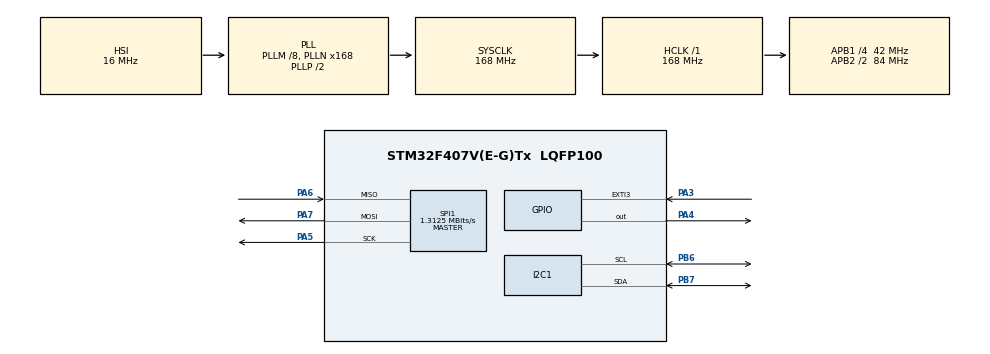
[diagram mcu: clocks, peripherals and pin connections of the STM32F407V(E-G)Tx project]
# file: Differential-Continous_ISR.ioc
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Dma.I2C1_RX.2.Direction=DMA_PERIPH_TO_MEMORY
Dma.I2C1_RX.2.FIFOMode=DMA_FIFOMODE_DISABLE
Dma.I2C1_RX.2.Instance=DMA1_Stream0
Dma.I2C1_RX.2.MemDataAlignment=DMA_MDATAALIGN_BYTE
Dma.I2C1_RX.2.MemInc=DMA_MINC_ENABLE
Dma.I2C1_RX.2.Mode=DMA_NORMAL
Dma.I2C1_RX.2.PeriphDataAlignment=DMA_PDATAALIGN_BYTE
Dma.I2C1_RX.2.PeriphInc=DMA_PINC_DISABLE
Dma.I2C1_RX.2.Priority=DMA_PRIORITY_LOW
Dma.I2C1_TX.3.Direction=DMA_MEMORY_TO_PERIPH
Dma.I2C1_TX.3.FIFOMode=DMA_FIFOMODE_DISABLE
Dma.I2C1_TX.3.Instance=DMA1_Stream6
Dma.I2C1_TX.3.MemDataAlignment=DMA_MDATAALIGN_BYTE
Dma.I2C1_TX.3.MemInc=DMA_MINC_ENABLE
Dma.I2C1_TX.3.Mode=DMA_NORMAL
Dma.I2C1_TX.3.PeriphDataAlignment=DMA_PDATAALIGN_BYTE
Dma.I2C1_TX.3.PeriphInc=DMA_PINC_DISABLE
Dma.I2C1_TX.3.Priority=DMA_PRIORITY_LOW
Dma.Request0=SPI1_TX
Dma.Request1=SPI1_RX
Dma.Request2=I2C1_RX
Dma.Request3=I2C1_TX
Dma.SPI1_RX.1.Direction=DMA_PERIPH_TO_MEMORY
Dma.SPI1_RX.1.FIFOMode=DMA_FIFOMODE_DISABLE
Dma.SPI1_RX.1.Instance=DMA2_Stream0
Dma.SPI1_RX.1.MemDataAlignment=DMA_MDATAALIGN_BYTE
Dma.SPI1_RX.1.MemInc=DMA_MINC_ENABLE
Dma.SPI1_RX.1.Mode=DMA_NORMAL
Dma.SPI1_RX.1.PeriphDataAlignment=DMA_PDATAALIGN_BYTE
Dma.SPI1_RX.1.PeriphInc=DMA_PINC_DISABLE
Dma.SPI1_RX.1.Priority=DMA_PRIORITY_LOW
Dma.SPI1_TX.0.Direction=DMA_MEMORY_TO_PERIPH
Dma.SPI1_TX.0.FIFOMode=DMA_FIFOMODE_DISABLE
Dma.SPI1_TX.0.Instance=DMA2_Stream3
Dma.SPI1_TX.0.MemDataAlignment=DMA_MDATAALIGN_BYTE
Dma.SPI1_TX.0.MemInc=DMA_MINC_ENABLE
Dma.SPI1_TX.0.Mode=DMA_NORMAL
Dma.SPI1_TX.0.PeriphDataAlignment=DMA_PDATAALIGN_BYTE
Dma.SPI1_TX.0.PeriphInc=DMA_PINC_DISABLE
Dma.SPI1_TX.0.Priority=DMA_PRIORITY_LOW
I2C1.GeneralCallMode=I2C_GENERALCALL_ENABLE
I2C1.NoStretchMode=I2C_NOSTRETCH_ENABLE
I2C1.OwnAddress=2
Mcu.Family=STM32F4
Mcu.Name=STM32F407V(E-G)Tx
Mcu.Package=LQFP100
NVIC.DMA1_Stream0_IRQn=true\:0\:0\:false\:false\:true\:false\:true
NVIC.DMA1_Stream6_IRQn=true\:0\:0\:false\:false\:true\:false\:true
NVIC.DMA2_Stream0_IRQn=true\:0\:0\:false\:false\:true\:false\:true
NVIC.DMA2_Stream3_IRQn=true\:0\:0\:false\:false\:true\:false\:true
NVIC.EXTI3_IRQn=true\:0\:0\:false\:false\:true\:true\:true
NVIC.I2C1_ER_IRQn=true\:0\:0\:false\:false\:true\:true\:true
NVIC.I2C1_EV_IRQn=true\:0\:0\:false\:false\:true\:true\:true
NVIC.PriorityGroup=NVIC_PRIORITYGROUP_4
PA3.GPIO_ModeDefaultEXTI=GPIO_MODE_IT_FALLING
PA3.Signal=GPXTI3
PA4.GPIO_PuPd=GPIO_PULLUP
PA4.GPIO_Speed=GPIO_SPEED_FREQ_VERY_HIGH
PA4.PinState=GPIO_PIN_RESET
PA4.Signal=GPIO_Output
PA5.Mode=Full_Duplex_Master
PA5.Signal=SPI1_SCK
PA6.Mode=Full_Duplex_Master
PA6.Signal=SPI1_MISO
PA7.Mode=Full_Duplex_Master
PA7.Signal=SPI1_MOSI
PB6.Mode=I2C
PB6.Signal=I2C1_SCL
PB7.Mode=I2C
PB7.Signal=I2C1_SDA
ProjectManager.HeapSize=0x200
ProjectManager.StackSize=0x400
ProjectManager.TargetToolchain=STM32CubeIDE
RCC.48MHZClocksFreq_Value=84000000
RCC.AHBFreq_Value=168000000
RCC.APB1CLKDivider=RCC_HCLK_DIV4
RCC.APB1Freq_Value=42000000
RCC.APB1TimFreq_Value=84000000
RCC.APB2CLKDivider=RCC_HCLK_DIV2
RCC.APB2Freq_Value=84000000
RCC.APB2TimFreq_Value=168000000
RCC.CortexFreq_Value=168000000
RCC.HCLKFreq_Value=168000000
RCC.HSE_VALUE=25000000
RCC.HSI_VALUE=16000000
RCC.LSE_VALUE=32768
RCC.PLLM=8
RCC.PLLN=168
RCC.SYSCLKFreq_VALUE=168000000
RCC.SYSCLKSource=RCC_SYSCLKSOURCE_PLLCLK
RCC.VCOOutputFreq_Value=336000000
SPI1.BaudRatePrescaler=SPI_BAUDRATEPRESCALER_64
SPI1.CLKPhase=SPI_PHASE_2EDGE
SPI1.CalculateBaudRate=1.3125 MBits/s
SPI1.Direction=SPI_DIRECTION_2LINES
SPI1.Mode=SPI_MODE_MASTER
SPI1.VirtualType=VM_MASTER
VP_TIM4_VS_ClockSourceINT.Mode=Internal
board=custom

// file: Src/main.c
/* USER CODE BEGIN Header */
/**
  ******************************************************************************
  * @file           : main.c
  * @brief          : Main program body
  ******************************************************************************
  * @attention
  *
  * <h2><center>&copy; Copyright (c) 2019 STMicroelectronics.
  * All rights reserved.</center></h2>
  *
  * This software component is licensed by ST under BSD 3-Clause license,
  * the "License"; You may not use this file except in compliance with the
  * License. You may obtain a copy of the License at:
  *                        opensource.org/licenses/BSD-3-Clause
  *
  ******************************************************************************
  */
/* USER CODE END Header */

#include "main.h"

/* USER CODE BEGIN Includes */
#include "Delay.h"
#include "arm_math.h"
/* USER CODE END Includes */

/* USER CODE BEGIN PD */
#define DRDY_IS_LOW() (HAL_GPIO_ReadPin(GPIOA, GPIO_PIN_3)==0)
#define CS_0()	HAL_GPIO_WritePin(GPIOA, GPIO_PIN_4, GPIO_PIN_RESET);
#define CS_1()	HAL_GPIO_WritePin(GPIOA, GPIO_PIN_4, GPIO_PIN_SET);
/* USER CODE END PD */

I2C_HandleTypeDef hi2c1;
DMA_HandleTypeDef hdma_i2c1_rx;
DMA_HandleTypeDef hdma_i2c1_tx;

SPI_HandleTypeDef hspi1;
DMA_HandleTypeDef hdma_spi1_tx;
DMA_HandleTypeDef hdma_spi1_rx;

TIM_HandleTypeDef htim4;

/* USER CODE BEGIN PV */
uint8_t abc = 0;
uint8_t id=0;
float data;
int32_t read = 0;
float max = 0;
uint32_t max_index = 0;
uint32_t mintestIndex = 0;

uint8_t RDATACsend_data[3] = {0xff,0xff,0xff};
uint8_t Databuffer[3] = {0x00,0x00,0x00};
uint8_t RDATACcmdbuffer[1] = {CMD_RDATAC};
uint8_t SDATACcmduffer[1] = {CMD_SDATAC};

struct ADC_Info{
	uint32_t data_index;
	uint32_t data_length;
	float data_buffer[4096];
	uint8_t data_startFlag;
} ADS1256;

struct Statistic_value
{
	float Statistic_max;
	float Statistic_min;
	float Statistic_var;
	float Statistic_rms;
	float Statistic_mean;
	float Statistic_std;

}statistic_value;

uint8_t buffer[2];
uint8_t pData[10] = {1,2,3,4,5,6,7,8,9,10};
/* USER CODE END PV */

void SystemClock_Config(void);
static void MX_GPIO_Init(void);
static void MX_DMA_Init(void);
static void MX_SPI1_Init(void);
static void MX_TIM4_Init(void);
static void MX_I2C1_Init(void);
/* USER CODE BEGIN PFP */
void waitDRDY(void);
void setBuffer(void);
uint8_t readByteFromReg(uint8_t registerID);
uint8_t receive8bit(void);
uint8_t readChipID(void);
void send8bit(uint8_t data);
void setPGA(uint8_t pga);
void writeByteToReg(uint8_t registerID, uint8_t value);
void setDataRate(uint8_t drate);
void setDIFFChannel(uint8_t positiveCh, uint8_t NegativeCh);
void writeCMD(uint8_t command);

/* USER CODE END PFP */

/* USER CODE BEGIN 0 */

/*
*********************************************************************************************************
*	name: setDIFFChannel
*	function: Write to MUX register - set channel to read from in single-ended mode
*   Bit 7,6,5,4 determine the positive input channel (AINp).
*   Bit 3,2,1,0 determine the negative input channel (AINn). e.g. (0-1, 2,3 - 4,5 - 6,7)
*	parameter:
*	The return value: val
*********************************************************************************************************
*/
void setDIFFChannel(uint8_t positiveCh, uint8_t NegativeCh)
{
	writeByteToReg(REG_MUX, positiveCh <<4 | NegativeCh); //xxxx1000 - AINp = positiveCh, AINn = NegativeCh
}

/*
*********************************************************************************************************
*	name: writeCMD
*	function: Send Standalone commands to register
*	parameter: command
*	The return value: None
*********************************************************************************************************
*/

void writeCMD(uint8_t command)
{
	uint8_t Txbuffer[1];
	Txbuffer[0] = command;
	CS_0();
	HAL_SPI_Transmit(&hspi1, Txbuffer ,1,50);
	CS_1();
}

/*
*********************************************************************************************************
*	name: setDataRate
*	function: sampling rate of collection
*	parameter: pga
*	The return value: None
*********************************************************************************************************
*/
void setDataRate(uint8_t drate)
{
	writeByteToReg(REG_DRATE,drate);
}

/**
*********************************************************************************************************
*	name: writeByteToReg
*	function: read 1 byte from register address registerID.
*	parameter: register ID
*	The return value:
*********************************************************************************************************
*/
void writeByteToReg(uint8_t registerID, uint8_t value)
{
	uint8_t Txbuffer[3];
	Txbuffer[0] = CMD_WREG | registerID;
	Txbuffer[1] = 0x00;
	Txbuffer[2] = value;
	CS_0();
	HAL_SPI_Transmit(&hspi1, Txbuffer ,3,100);
	/*
	send8bit(CMD_WREG | registerID);		//1syt byte: address of the first register to write
	send8bit(0x00);							//2nd byte: number of byte to write = 1.
	send8bit(value);						//3rd byte: value to write to register
	*/
	CS_1();

}
/*
*********************************************************************************************************
*	name: setPGA
*	function: Set gain of amplifier
*	parameter: pga
*	The return value: None
*********************************************************************************************************
*/
void setPGA(uint8_t pga)
{
	writeByteToReg(REG_ADCON,pga);
}
/*
*********************************************************************************************************
*	name: Send8bit
*	function: SPI send data to SPI slave
*	parameter: data
*	The return value: NULL
*********************************************************************************************************
*/
void send8bit(uint8_t data)
{
	HAL_SPI_Transmit(&hspi1, &data ,1,100);
}
/*
*********************************************************************************************************
*	name: waitDRDY
*	function: Wait for DRDY is Low
*	parameter: data
*	The return value: None
*********************************************************************************************************
*/
void waitDRDY(void)
{
	uint32_t i;
		for (i = 0; i < 40000000; i++){
			if (DRDY_IS_LOW()){
				break;
			}
		}
}
/*
*********************************************************************************************************
*	name: readChipID
*	function: Get data from Status register - chipID "check"
*	parameter:
*	The return value: val
*********************************************************************************************************
*/
uint8_t readChipID(void)
{
	waitDRDY();
	volatile uint8_t id = readByteFromReg(REG_STATUS);
	return (id >> 4);
}

/*
*********************************************************************************************************
*	name: receive8bit
*	function: receive data from SPI slave
*	parameter: data
*	The return value: NULL
*********************************************************************************************************
*/
uint8_t receive8bit(void)
{
	/*
	uint8_t TXbuffer[1];
	uint8_t RXbuffer[1];
	TXbuffer[0] = 0xff;

	HAL_SPI_Transmit(&hspi1, TXbuffer ,1,50);
	HAL_SPI_Receive(&hspi1, RXbuffer ,1,50);

	return RXbuffer[0];
	*/
	uint8_t send_data = 0xff;
	uint8_t read = 0;
	HAL_SPI_TransmitReceive(&hspi1,&send_data,&read,1,50);
	return read;

}
/*
*********************************************************************************************************
*	name: readByteFromReg
*	function: read 1 byte from register address registerID.
*	parameter: register ID
*	The return value:
*********************************************************************************************************
*/
uint8_t readByteFromReg(uint8_t registerID)
{
	uint8_t TXbuffer[2];
	TXbuffer[0] = CMD_RREG | registerID;
	TXbuffer[1] = 0x00;
	CS_0();
	HAL_SPI_Transmit(&hspi1, TXbuffer ,2,50);
	delay_us(10);
	uint8_t read = receive8bit();
	CS_1();

	return read;
}
/*
*********************************************************************************************************
*	name: setBuffer
*	function: Set the internal buffer (True-enable), (Fasle-disable)
*	parameter: bool val
*	The return value: val
*********************************************************************************************************
*/
void setBuffer(void)
{
	uint8_t val = 1;
	uint8_t Txbuffer[2];
	Txbuffer[0] = CMD_WREG | REG_STATUS;
	Txbuffer[1] = (0 <<3) | (1 << 2) | (val << 1);

	CS_0();
	HAL_SPI_Transmit(&hspi1, Txbuffer ,2,50);
	//send8bit(CMD_WREG | REG_STATUS);
	//send8bit((0 <<3) | (1 << 2) | (val << 1));
	CS_1();
}
/* USER CODE END 0 */

int main(void)
{

  /* MCU Configuration--------------------------------------------------------*/

  /* Reset of all peripherals, Initializes the Flash interface and the Systick. */
  HAL_Init();

  /* Configure the system clock */
  SystemClock_Config();

  /* Initialize all configured peripherals */
  MX_GPIO_Init();
  MX_DMA_Init();
  MX_SPI1_Init();
  MX_TIM4_Init();
  MX_I2C1_Init();
  /* USER CODE BEGIN 2 */

  //Initialize ADS1256 data buffer size
  ADS1256.data_index = 0;
  ADS1256.data_length = 4096;

  //Initialize delay systick
  delay_init(168);

  //Reset ADS1256
  writeCMD(CMD_RESET);
  delay_ms(10);

  //Initialize ADS1256 parameter (Buffer, PGA, Sampling rate)
  setBuffer();
  setPGA(PGA_GAIN1);
  setDataRate(DRATE_15000);

  //Read chip id
  id = readChipID();

   delay_ms(500);

  uint8_t  posChannels [4] = {AIN0, AIN2, AIN4, AIN6};
  uint8_t  negChannels [4] = {AIN1, AIN3, AIN5, AIN7};

  // Set differential analog input channel.
  setDIFFChannel(posChannels[1], negChannels[1]);
  delay_us(15);
  writeCMD(CMD_SYNC);    // SYNC command
  delay_us(10);
  writeCMD(CMD_WAKEUP);  // WAKEUP command
  delay_us(15); // min delay: t11 = 4 * 1 / 7,68 Mhz = 0,52 micro sec

  // Set continuous mode.
  waitDRDY();
  CS_0();
  HAL_SPI_Transmit(&hspi1, RDATACcmdbuffer ,1,50);
  delay_ms(25); // min delay: t6 = 50 * 1/7.68 MHz = 6.5 microseconds
  ADS1256.data_startFlag = 1;
  delay_us(1);

  /* USER CODE END 2 */

  /* Infinite loop */
  while (1)
  {

    /* USER CODE BEGIN 3 */
	  abc = abc+1;
	//scanSEChannels(channels_SE, num_ch_SE, values_SE);
	//scanDIFFChannels(posChannels, negChannels, num_ch_DIFF, values_DIFF);
	//scanDIFFChannelContinuous(AIN0, AIN1, num_measure_DIFF_CONT, values_DIFF_CONT);
	//delay_ms(1);
  }
  /* USER CODE END 3 */
}

void SystemClock_Config(void)
{
  RCC_OscInitTypeDef RCC_OscInitStruct = {0};
  RCC_ClkInitTypeDef RCC_ClkInitStruct = {0};

  /** Configure the main internal regulator output voltage
  */
  __HAL_RCC_PWR_CLK_ENABLE();
  __HAL_PWR_VOLTAGESCALING_CONFIG(PWR_REGULATOR_VOLTAGE_SCALE1);
  /** Initializes the CPU, AHB and APB busses clocks
  */
  RCC_OscInitStruct.OscillatorType = RCC_OSCILLATORTYPE_HSI;
  RCC_OscInitStruct.HSIState = RCC_HSI_ON;
  RCC_OscInitStruct.HSICalibrationValue = RCC_HSICALIBRATION_DEFAULT;
  RCC_OscInitStruct.PLL.PLLState = RCC_PLL_ON;
  RCC_OscInitStruct.PLL.PLLSource = RCC_PLLSOURCE_HSI;
  RCC_OscInitStruct.PLL.PLLM = 8;
  RCC_OscInitStruct.PLL.PLLN = 168;
  RCC_OscInitStruct.PLL.PLLP = RCC_PLLP_DIV2;
  RCC_OscInitStruct.PLL.PLLQ = 4;
  if (HAL_RCC_OscConfig(&RCC_OscInitStruct) != HAL_OK)
  {
    Error_Handler();
  }
  /** Initializes the CPU, AHB and APB busses clocks
  */
  RCC_ClkInitStruct.ClockType = RCC_CLOCKTYPE_HCLK|RCC_CLOCKTYPE_SYSCLK
                              |RCC_CLOCKTYPE_PCLK1|RCC_CLOCKTYPE_PCLK2;
  RCC_ClkInitStruct.SYSCLKSource = RCC_SYSCLKSOURCE_PLLCLK;
  RCC_ClkInitStruct.AHBCLKDivider = RCC_SYSCLK_DIV1;
  RCC_ClkInitStruct.APB1CLKDivider = RCC_HCLK_DIV4;
  RCC_ClkInitStruct.APB2CLKDivider = RCC_HCLK_DIV2;

  if (HAL_RCC_ClockConfig(&RCC_ClkInitStruct, FLASH_LATENCY_5) != HAL_OK)
  {
    Error_Handler();
  }
}

static void MX_I2C1_Init(void)
{

  hi2c1.Instance = I2C1;
  hi2c1.Init.ClockSpeed = 100000;
  hi2c1.Init.DutyCycle = I2C_DUTYCYCLE_2;
  hi2c1.Init.OwnAddress1 = 4;
  hi2c1.Init.AddressingMode = I2C_ADDRESSINGMODE_7BIT;
  hi2c1.Init.DualAddressMode = I2C_DUALADDRESS_DISABLE;
  hi2c1.Init.OwnAddress2 = 0;
  hi2c1.Init.GeneralCallMode = I2C_GENERALCALL_ENABLE;
  hi2c1.Init.NoStretchMode = I2C_NOSTRETCH_ENABLE;
  if (HAL_I2C_Init(&hi2c1) != HAL_OK)
  {
    Error_Handler();
  }
  /* USER CODE BEGIN I2C1_Init 2 */
  HAL_I2C_Slave_Receive_IT(&hi2c1, buffer, 2);
  /* USER CODE END I2C1_Init 2 */

}

static void MX_SPI1_Init(void)
{

  /* SPI1 parameter configuration*/
  hspi1.Instance = SPI1;
  hspi1.Init.Mode = SPI_MODE_MASTER;
  hspi1.Init.Direction = SPI_DIRECTION_2LINES;
  hspi1.Init.DataSize = SPI_DATASIZE_8BIT;
  hspi1.Init.CLKPolarity = SPI_POLARITY_LOW;
  hspi1.Init.CLKPhase = SPI_PHASE_2EDGE;
  hspi1.Init.NSS = SPI_NSS_SOFT;
  hspi1.Init.BaudRatePrescaler = SPI_BAUDRATEPRESCALER_64;
  hspi1.Init.FirstBit = SPI_FIRSTBIT_MSB;
  hspi1.Init.TIMode = SPI_TIMODE_DISABLE;
  hspi1.Init.CRCCalculation = SPI_CRCCALCULATION_DISABLE;
  hspi1.Init.CRCPolynomial = 10;
  if (HAL_SPI_Init(&hspi1) != HAL_OK)
  {
    Error_Handler();
  }

}

static void MX_TIM4_Init(void)
{

  TIM_ClockConfigTypeDef sClockSourceConfig = {0};
  TIM_MasterConfigTypeDef sMasterConfig = {0};

  htim4.Instance = TIM4;
  htim4.Init.Prescaler = 0;
  htim4.Init.CounterMode = TIM_COUNTERMODE_UP;
  htim4.Init.Period = 0;
  htim4.Init.ClockDivision = TIM_CLOCKDIVISION_DIV1;
  htim4.Init.AutoReloadPreload = TIM_AUTORELOAD_PRELOAD_DISABLE;
  if (HAL_TIM_Base_Init(&htim4) != HAL_OK)
  {
    Error_Handler();
  }
  sClockSourceConfig.ClockSource = TIM_CLOCKSOURCE_INTERNAL;
  if (HAL_TIM_ConfigClockSource(&htim4, &sClockSourceConfig) != HAL_OK)
  {
    Error_Handler();
  }
  sMasterConfig.MasterOutputTrigger = TIM_TRGO_RESET;
  sMasterConfig.MasterSlaveMode = TIM_MASTERSLAVEMODE_DISABLE;
  if (HAL_TIMEx_MasterConfigSynchronization(&htim4, &sMasterConfig) != HAL_OK)
  {
    Error_Handler();
  }

}

static void MX_DMA_Init(void)
{
  /* DMA controller clock enable */
  __HAL_RCC_DMA2_CLK_ENABLE();
  __HAL_RCC_DMA1_CLK_ENABLE();

  /* DMA interrupt init */
  /* DMA1_Stream0_IRQn interrupt configuration */
  HAL_NVIC_SetPriority(DMA1_Stream0_IRQn, 0, 0);
  HAL_NVIC_EnableIRQ(DMA1_Stream0_IRQn);
  /* DMA1_Stream6_IRQn interrupt configuration */
  HAL_NVIC_SetPriority(DMA1_Stream6_IRQn, 0, 0);
  HAL_NVIC_EnableIRQ(DMA1_Stream6_IRQn);
  /* DMA2_Stream0_IRQn interrupt configuration */
  HAL_NVIC_SetPriority(DMA2_Stream0_IRQn, 0, 0);
  HAL_NVIC_EnableIRQ(DMA2_Stream0_IRQn);
  /* DMA2_Stream3_IRQn interrupt configuration */
  HAL_NVIC_SetPriority(DMA2_Stream3_IRQn, 0, 0);
  HAL_NVIC_EnableIRQ(DMA2_Stream3_IRQn);

}

static void MX_GPIO_Init(void)
{
  GPIO_InitTypeDef GPIO_InitStruct = {0};

  /* GPIO Ports Clock Enable */
  __HAL_RCC_GPIOA_CLK_ENABLE();
  __HAL_RCC_GPIOB_CLK_ENABLE();

  /*Configure GPIO pin Output Level */
  HAL_GPIO_WritePin(GPIOA, GPIO_PIN_4, GPIO_PIN_RESET);

  /*Configure GPIO pin : PA3 */
  GPIO_InitStruct.Pin = GPIO_PIN_3;
  GPIO_InitStruct.Mode = GPIO_MODE_IT_FALLING;
  GPIO_InitStruct.Pull = GPIO_NOPULL;
  HAL_GPIO_Init(GPIOA, &GPIO_InitStruct);

  /*Configure GPIO pin : PA4 */
  GPIO_InitStruct.Pin = GPIO_PIN_4;
  GPIO_InitStruct.Mode = GPIO_MODE_OUTPUT_PP;
  GPIO_InitStruct.Pull = GPIO_PULLUP;
  GPIO_InitStruct.Speed = GPIO_SPEED_FREQ_VERY_HIGH;
  HAL_GPIO_Init(GPIOA, &GPIO_InitStruct);

  /* EXTI interrupt init*/
  HAL_NVIC_SetPriority(EXTI3_IRQn, 0, 0);
  HAL_NVIC_EnableIRQ(EXTI3_IRQn);

}

/* USER CODE BEGIN 4 */
void HAL_TIM_PeriodElapsedCallback(TIM_HandleTypeDef *htim){
    if (htim->Instance == htim4.Instance){

    }
}

void HAL_GPIO_EXTI_Callback(uint16_t GPIO_Pin)
{

	if(GPIO_Pin == GPIO_PIN_3 && id == 3 && ADS1256.data_startFlag == 1)
	{
		//HAL_GPIO_TogglePin(GPIOD, GPIO_PIN_12);
		//delay_us(1);
		HAL_SPI_TransmitReceive_DMA(&hspi1,RDATACsend_data,Databuffer,3);

		// construct 24 bit value
		read  = ((int32_t)Databuffer[0] << 16) & 0x00FF0000;
		read |= ((int32_t)Databuffer[1] << 8);
		read |= Databuffer[2];
		if (read & 0x800000){
			read |= 0xFF000000;

		}
		//tempdata = read;
		data = read;
		ADS1256.data_buffer[ADS1256.data_index] = data / 167000;
		ADS1256.data_index++;
		if(ADS1256.data_index == ADS1256.data_length)
		{
			ADS1256.data_index = 0;
			arm_max_f32(&ADS1256.data_buffer,4096, &statistic_value.Statistic_max , &max_index);
			arm_min_f32(&ADS1256.data_buffer, 4096, &statistic_value.Statistic_min, &mintestIndex);
			arm_var_f32(&ADS1256.data_buffer, 4096, &statistic_value.Statistic_var);
			arm_rms_f32(&ADS1256.data_buffer, 4096, &statistic_value.Statistic_rms);
			arm_mean_f32(&ADS1256.data_buffer, 4096, &statistic_value.Statistic_mean);
			arm_std_f32(&ADS1256.data_buffer, 4096, &statistic_value.Statistic_std);
			pData[0] = statistic_value.Statistic_max;
			pData[1] = statistic_value.Statistic_min;
			pData[2] = statistic_value.Statistic_var;
			pData[3] = statistic_value.Statistic_rms;
			pData[4] = statistic_value.Statistic_mean;
			pData[5] = statistic_value.Statistic_std;
		}

		//delay_us(8);
	}
}

void HAL_I2C_SlaveRxCpltCallback(I2C_HandleTypeDef *hi2c)
{

	pData[9] = 123;
	while(HAL_I2C_Slave_Transmit_DMA(&hi2c1, &pData, 10) ==HAL_OK)
	{

	}

}
/* USER CODE END 4 */

void Error_Handler(void)
{
}

/************************ (C) COPYRIGHT STMicroelectronics *****END OF FILE****/
